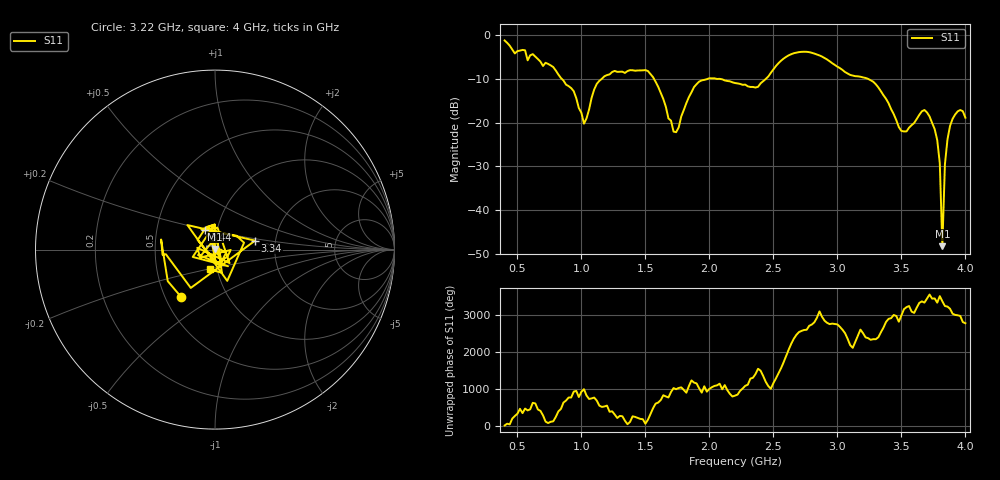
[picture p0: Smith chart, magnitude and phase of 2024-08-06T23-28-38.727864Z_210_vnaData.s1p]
!Created with skrf (http://scikit-rf.org).
# Hz S RI R 50.0
!freq ReS11 ImS11
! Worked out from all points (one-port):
!   181 points, 400 MHz to 4 GHz, reference 50 ohm
!   lowest |S11| = -48.3 dB at 3.82 GHz (marker M1), VSWR 1.01, Z = 49.8 + j0.316 ohm
!   |S11| at or under -10 dB: 1.567 GHz to 1.985 GHz (418 MHz wide, 23.5 % of centre); 2.084 GHz to 2.441 GHz (357 MHz wide, 15.8 % of centre); 3.24 GHz to end of sweep (the widest 3 of 5)
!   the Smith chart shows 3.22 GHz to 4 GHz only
!   S11 on the Smith chart (normalised r, x): 3.22 GHz: 0.60, -0.36; 3.34 GHz: 1.56, +0.16; 3.44 GHz: 0.87, +0.20; 4 GHz: 0.92, -0.21
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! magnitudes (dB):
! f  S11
! 400 MHz  -1.2
! 860 MHz  -10.4
! 940 MHz  -12.8
! 1.02 GHz  -20.2
! 1.12 GHz  -11.1
! 1.3 GHz  -8.4
! 1.52 GHz  -8.2
! 1.6 GHz  -11.8
! 1.72 GHz  -22.0
! 1.76 GHz  -21.1
! 1.92 GHz  -10.6
! 2.2 GHz  -10.9
! 2.38 GHz  -11.8
! 2.66 GHz  -4.1
! 3.1 GHz  -9.1
! 3.22 GHz  -9.8
! 3.34 GHz  -12.8
! 3.44 GHz  -18.0
! 3.5 GHz  -21.9
! 3.56 GHz  -21.1
! 3.68 GHz  -17.1
! 3.76 GHz  -21.5
! 3.8 GHz  -29.3
! 3.82 GHz  -48.3
! 3.84 GHz  -29.5
! 3.86 GHz  -23.8
! 3.94 GHz  -17.4
! 4 GHz  -18.9
